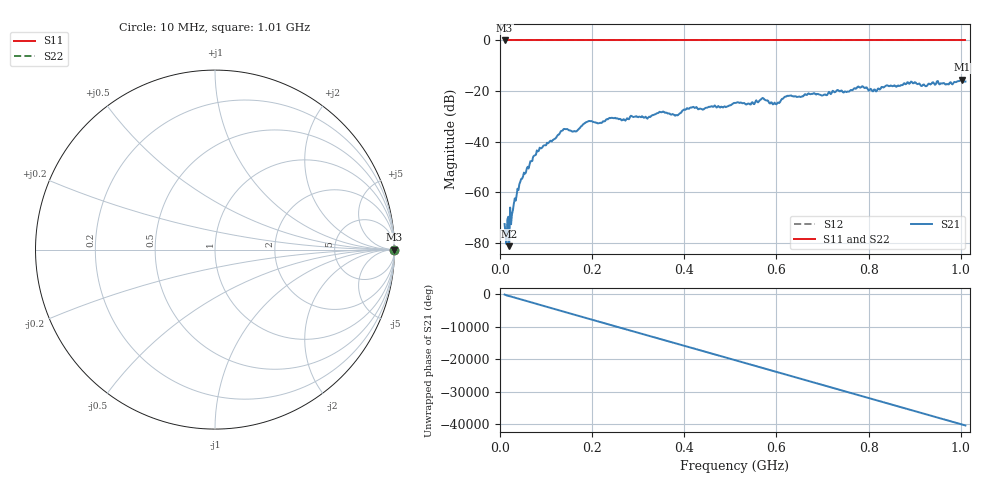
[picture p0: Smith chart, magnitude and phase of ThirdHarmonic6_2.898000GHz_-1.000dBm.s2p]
! 8/17/2025 8:00:03 AM
! C:\ANRITSUVNA\TEMP\TEMP.S2P
! CHANNEL.1
! TR.MEASUREMENT
! RAW.DATA
! RF.CORRECTION.OFF
! AVERAGING.OFF
! IF.BANDWIDTH: 5KHZ
! SWEEPTYPE:  FREQ.SWEEP(Linear)
! Reference Plane Port Info
! PORT:  PORT1  PORT2
! DISTANCE:  0  m  0  m
! TIME:  0  s  0  s
! PHASE.OFFSET:  0  deg.  0  deg.
! LOSS:  0  dB  0  dB
! REF.LOSS:  0  dB  0  dB
! REF.FREQ:  0  Hz  0  Hz
! Power Info
! POWER:  -20  dBm  -20  dBm
! EFF.POWER:  -20  dBm  -20  dBm
! SOURCE.ATTEN:  0  dB  0  dB
! TEST.ATTEN:  0  dB  0  dB
# GHZ S RI R 50.0
! FREQ.GHZ  S11RE  S11IM  S21RE  S21IM  S12RE  S12IM  S22RE  S22IM
!; PortSelection: Port_12
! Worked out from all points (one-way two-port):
!   501 points, 10 MHz to 1.01 GHz, reference 50 ohm
!   highest |S21| = -15.52 dB at 1.002 GHz (marker M1); lowest = -81.2 dB at 20 MHz (marker M2)
!   lowest |S11| = 0.0 dB at 10 MHz (marker M3)
!   |S11| at or under -10 dB: nowhere
!   |S22| runs from 0.0 to 0.0 dB; largest |S21 - S12| = 1.2
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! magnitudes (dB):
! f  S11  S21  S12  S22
! 10 MHz  0.0  -72.5  0.0  0.0
! 16 MHz  0.0  -70.7  0.0  0.0
! 20 MHz  0.0  -81.2  0.0  0.0
! 24 MHz  0.0  -72.6  0.0  0.0
! 26 MHz  0.0  -68.6  0.0  0.0
! 42 MHz  0.0  -56.7  0.0  0.0
! 76 MHz  0.0  -45.3  0.0  0.0
! 136 MHz  0.0  -35.5  0.0  0.0
! 162 MHz  0.0  -35.8  0.0  0.0
! 178 MHz  0.0  -33.7  0.0  0.0
! 344 MHz  0.0  -28.6  0.0  0.0
! 382 MHz  0.0  -29.4  0.0  0.0
! 416 MHz  0.0  -26.5  0.0  0.0
! 510 MHz  0.0  -24.7  0.0  0.0
! 570 MHz  0.0  -22.7  0.0  0.0
! 596 MHz  0.0  -24.5  0.0  0.0
! 622 MHz  0.0  -22.0  0.0  0.0
! 678 MHz  0.0  -21.1  0.0  0.0
! 814 MHz  0.0  -19.4  0.0  0.0
! 844 MHz  0.0  -18.1  0.0  0.0
! 1.002 GHz  0.0  -15.5  0.0  0.0
! 1.01 GHz  0.0  -16.2  0.0  0.0
